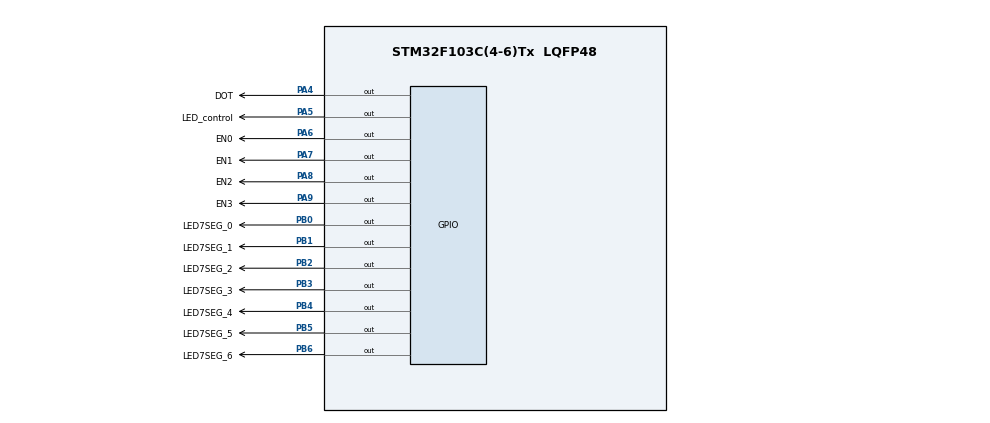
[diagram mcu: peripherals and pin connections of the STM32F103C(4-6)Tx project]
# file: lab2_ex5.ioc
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Mcu.Family=STM32F1
Mcu.Name=STM32F103C(4-6)Tx
Mcu.Package=LQFP48
NVIC.PriorityGroup=NVIC_PRIORITYGROUP_4
NVIC.TIM2_IRQn=true\:0\:0\:false\:false\:true\:true\:true\:true
PA4.GPIO_Label=DOT
PA4.Signal=GPIO_Output
PA5.GPIO_Label=LED_control
PA5.Signal=GPIO_Output
PA6.GPIO_Label=EN0
PA6.Signal=GPIO_Output
PA7.GPIO_Label=EN1
PA7.Signal=GPIO_Output
PA8.GPIO_Label=EN2
PA8.Signal=GPIO_Output
PA9.GPIO_Label=EN3
PA9.Signal=GPIO_Output
PB0.GPIO_Label=LED7SEG_0
PB0.Signal=GPIO_Output
PB1.GPIO_Label=LED7SEG_1
PB1.Signal=GPIO_Output
PB2.GPIO_Label=LED7SEG_2
PB2.Signal=GPIO_Output
PB3.GPIO_Label=LED7SEG_3
PB3.Signal=GPIO_Output
PB4.GPIO_Label=LED7SEG_4
PB4.Signal=GPIO_Output
PB5.GPIO_Label=LED7SEG_5
PB5.Signal=GPIO_Output
PB6.GPIO_Label=LED7SEG_6
PB6.Signal=GPIO_Output
ProjectManager.HeapSize=0x200
ProjectManager.StackSize=0x400
ProjectManager.TargetToolchain=CMake
RCC.APB1Freq_Value=8000000
RCC.APB2Freq_Value=8000000
TIM2.Period=9
TIM2.Prescaler=7999
VP_SYS_VS_ND.Mode=No_Debug
VP_TIM2_VS_ClockSourceINT.Mode=Internal
board=custom

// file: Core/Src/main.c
/* USER CODE BEGIN Header */
/**
  ******************************************************************************
  * @file           : main.c
  * @brief          : Main program body
  ******************************************************************************
  * @attention
  *
  * Copyright (c) 2026 STMicroelectronics.
  * All rights reserved.
  *
  * This software is licensed under terms that can be found in the LICENSE file
  * in the root directory of this software component.
  * If no LICENSE file comes with this software, it is provided AS-IS.
  *
  ******************************************************************************
  */
/* USER CODE END Header */
#include "main.h"

/* USER CODE BEGIN Includes */
#include "control_7_seg.h"
/* USER CODE END Includes */

/* USER CODE BEGIN PD */
uint16_t arr_led7seg_pin[7] = {
  LED7SEG_0_Pin,
  LED7SEG_1_Pin,
  LED7SEG_2_Pin,
  LED7SEG_3_Pin,
  LED7SEG_4_Pin,
  LED7SEG_5_Pin,
  LED7SEG_6_Pin
};
/* USER CODE END PD */

TIM_HandleTypeDef htim2;

/* USER CODE BEGIN PV */
int index_led = 0;
int led_buffer [4] = {1 , 9 , 3 , 4};
int hour = 15 , minute = 8 , second = 50;

/* USER CODE END PV */

void SystemClock_Config(void);
static void MX_GPIO_Init(void);
static void MX_TIM2_Init(void);
/* USER CODE BEGIN PFP */
void update7SEG (int index);
void updateClockBuffer ();
/* USER CODE END PFP */

int main(void)
{

  /* MCU Configuration--------------------------------------------------------*/

  /* Reset of all peripherals, Initializes the Flash interface and the Systick. */
  HAL_Init();

  /* Configure the system clock */
  SystemClock_Config();

  /* Initialize all configured peripherals */
  MX_GPIO_Init();
  MX_TIM2_Init();
  /* USER CODE BEGIN 2 */
  HAL_TIM_Base_Start_IT(&htim2);
  /* USER CODE END 2 */

  /* Infinite loop */
  while (1)
  {

    /* USER CODE BEGIN 3 */
    second ++;
    if ( second >= 60) {
      second = 0;
      minute ++;
    }
    if( minute >= 60) {
      minute = 0;
      hour ++;
    }
    if( hour >=24) {
      hour = 0;
    }
    updateClockBuffer () ;
    HAL_Delay (1000) ;
  }
  /* USER CODE END 3 */
}

void SystemClock_Config(void)
{
  RCC_OscInitTypeDef RCC_OscInitStruct = {0};
  RCC_ClkInitTypeDef RCC_ClkInitStruct = {0};

  /** Initializes the RCC Oscillators according to the specified parameters
  * in the RCC_OscInitTypeDef structure.
  */
  RCC_OscInitStruct.OscillatorType = RCC_OSCILLATORTYPE_HSI;
  RCC_OscInitStruct.HSIState = RCC_HSI_ON;
  RCC_OscInitStruct.HSICalibrationValue = RCC_HSICALIBRATION_DEFAULT;
  RCC_OscInitStruct.PLL.PLLState = RCC_PLL_NONE;
  if (HAL_RCC_OscConfig(&RCC_OscInitStruct) != HAL_OK)
  {
    Error_Handler();
  }

  /** Initializes the CPU, AHB and APB buses clocks
  */
  RCC_ClkInitStruct.ClockType = RCC_CLOCKTYPE_HCLK|RCC_CLOCKTYPE_SYSCLK
                              |RCC_CLOCKTYPE_PCLK1|RCC_CLOCKTYPE_PCLK2;
  RCC_ClkInitStruct.SYSCLKSource = RCC_SYSCLKSOURCE_HSI;
  RCC_ClkInitStruct.AHBCLKDivider = RCC_SYSCLK_DIV1;
  RCC_ClkInitStruct.APB1CLKDivider = RCC_HCLK_DIV1;
  RCC_ClkInitStruct.APB2CLKDivider = RCC_HCLK_DIV1;

  if (HAL_RCC_ClockConfig(&RCC_ClkInitStruct, FLASH_LATENCY_0) != HAL_OK)
  {
    Error_Handler();
  }
}

static void MX_TIM2_Init(void)
{

  TIM_ClockConfigTypeDef sClockSourceConfig = {0};
  TIM_MasterConfigTypeDef sMasterConfig = {0};

  htim2.Instance = TIM2;
  htim2.Init.Prescaler = 7999;
  htim2.Init.CounterMode = TIM_COUNTERMODE_UP;
  htim2.Init.Period = 9;
  htim2.Init.ClockDivision = TIM_CLOCKDIVISION_DIV1;
  htim2.Init.AutoReloadPreload = TIM_AUTORELOAD_PRELOAD_DISABLE;
  if (HAL_TIM_Base_Init(&htim2) != HAL_OK)
  {
    Error_Handler();
  }
  sClockSourceConfig.ClockSource = TIM_CLOCKSOURCE_INTERNAL;
  if (HAL_TIM_ConfigClockSource(&htim2, &sClockSourceConfig) != HAL_OK)
  {
    Error_Handler();
  }
  sMasterConfig.MasterOutputTrigger = TIM_TRGO_RESET;
  sMasterConfig.MasterSlaveMode = TIM_MASTERSLAVEMODE_DISABLE;
  if (HAL_TIMEx_MasterConfigSynchronization(&htim2, &sMasterConfig) != HAL_OK)
  {
    Error_Handler();
  }

}

static void MX_GPIO_Init(void)
{
  GPIO_InitTypeDef GPIO_InitStruct = {0};

  /* GPIO Ports Clock Enable */
  __HAL_RCC_GPIOA_CLK_ENABLE();
  __HAL_RCC_GPIOB_CLK_ENABLE();

  /*Configure GPIO pin Output Level */
  HAL_GPIO_WritePin(GPIOA, DOT_Pin|LED_control_Pin|EN0_Pin|EN1_Pin
                          |EN2_Pin|EN3_Pin, GPIO_PIN_RESET);

  /*Configure GPIO pin Output Level */
  HAL_GPIO_WritePin(GPIOB, LED7SEG_0_Pin|LED7SEG_1_Pin|LED7SEG_2_Pin|LED7SEG_3_Pin
                          |LED7SEG_4_Pin|LED7SEG_5_Pin|LED7SEG_6_Pin, GPIO_PIN_RESET);

  /*Configure GPIO pins : DOT_Pin LED_control_Pin EN0_Pin EN1_Pin
                           EN2_Pin EN3_Pin */
  GPIO_InitStruct.Pin = DOT_Pin|LED_control_Pin|EN0_Pin|EN1_Pin
                          |EN2_Pin|EN3_Pin;
  GPIO_InitStruct.Mode = GPIO_MODE_OUTPUT_PP;
  GPIO_InitStruct.Pull = GPIO_NOPULL;
  GPIO_InitStruct.Speed = GPIO_SPEED_FREQ_LOW;
  HAL_GPIO_Init(GPIOA, &GPIO_InitStruct);

  /*Configure GPIO pins : LED7SEG_0_Pin LED7SEG_1_Pin LED7SEG_2_Pin LED7SEG_3_Pin
                           LED7SEG_4_Pin LED7SEG_5_Pin LED7SEG_6_Pin */
  GPIO_InitStruct.Pin = LED7SEG_0_Pin|LED7SEG_1_Pin|LED7SEG_2_Pin|LED7SEG_3_Pin
                          |LED7SEG_4_Pin|LED7SEG_5_Pin|LED7SEG_6_Pin;
  GPIO_InitStruct.Mode = GPIO_MODE_OUTPUT_PP;
  GPIO_InitStruct.Pull = GPIO_NOPULL;
  GPIO_InitStruct.Speed = GPIO_SPEED_FREQ_LOW;
  HAL_GPIO_Init(GPIOB, &GPIO_InitStruct);

}

/* USER CODE BEGIN 4 */
void updateClockBuffer () {
  led_buffer[0] = hour / 10;
  led_buffer[1] = hour % 10;
  led_buffer[2] = minute / 10;
  led_buffer[3] = minute % 10;
}

void update7SEG (int index){
  switch(index){
    case 0:
      HAL_GPIO_WritePin(GPIOA, EN0_Pin, GPIO_PIN_RESET);
      HAL_GPIO_WritePin(GPIOA, EN1_Pin, GPIO_PIN_SET);
      HAL_GPIO_WritePin(GPIOA, EN2_Pin, GPIO_PIN_SET);
      HAL_GPIO_WritePin(GPIOA, EN3_Pin, GPIO_PIN_SET);
      display7SEG(led_buffer[0],GPIOB ,arr_led7seg_pin);
      break;
    case 1:
      HAL_GPIO_WritePin(GPIOA, EN0_Pin, GPIO_PIN_SET);
      HAL_GPIO_WritePin(GPIOA, EN1_Pin, GPIO_PIN_RESET);
      HAL_GPIO_WritePin(GPIOA, EN2_Pin, GPIO_PIN_SET);
      HAL_GPIO_WritePin(GPIOA, EN3_Pin, GPIO_PIN_SET);
      display7SEG(led_buffer[1],GPIOB ,arr_led7seg_pin);
      break;
    case 2:
      HAL_GPIO_WritePin(GPIOA, EN0_Pin, GPIO_PIN_SET);
      HAL_GPIO_WritePin(GPIOA, EN1_Pin, GPIO_PIN_SET);
      HAL_GPIO_WritePin(GPIOA, EN2_Pin, GPIO_PIN_RESET);
      HAL_GPIO_WritePin(GPIOA, EN3_Pin, GPIO_PIN_SET);
      display7SEG(led_buffer[2],GPIOB ,arr_led7seg_pin);
      break;
    case 3:
      HAL_GPIO_WritePin(GPIOA, EN0_Pin, GPIO_PIN_SET);
      HAL_GPIO_WritePin(GPIOA, EN1_Pin, GPIO_PIN_SET);
      HAL_GPIO_WritePin(GPIOA, EN2_Pin, GPIO_PIN_SET);
      HAL_GPIO_WritePin(GPIOA, EN3_Pin, GPIO_PIN_RESET);
      display7SEG(led_buffer[3],GPIOB ,arr_led7seg_pin);
      break;
    default:
      break;
  }
}

void HAL_TIM_PeriodElapsedCallback(TIM_HandleTypeDef *htim){
  static uint8_t counter = 0;
  if(htim->Instance == TIM2){
    if(counter == 0 || counter == 25) index_led = (index_led + 1) % 4;
    update7SEG(index_led);
    if(counter == 0){
      HAL_GPIO_TogglePin(GPIOA, DOT_Pin);
      HAL_GPIO_TogglePin(GPIOA, LED_control_Pin);
    }
    counter = (counter + 1) % 50;
  }
}
/* USER CODE END 4 */

void Error_Handler(void)
{
  __disable_irq();
  while (1)
  {
  }
}
